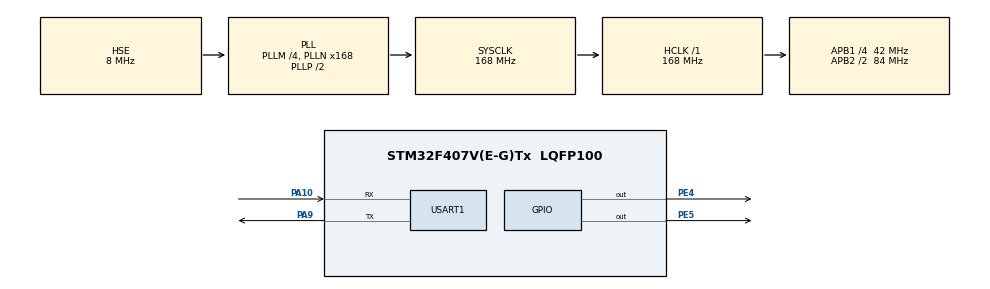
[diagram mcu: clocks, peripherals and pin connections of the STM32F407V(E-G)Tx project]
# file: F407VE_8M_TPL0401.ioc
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Mcu.Family=STM32F4
Mcu.Name=STM32F407V(E-G)Tx
Mcu.Package=LQFP100
NVIC.PriorityGroup=NVIC_PRIORITYGROUP_4
NVIC.USART1_IRQn=true\:0\:0\:false\:false\:true\:true\:true
PA10.Mode=Asynchronous
PA10.Signal=USART1_RX
PA13.Mode=Serial_Wire
PA13.Signal=SYS_JTMS-SWDIO
PA14.Mode=Serial_Wire
PA14.Signal=SYS_JTCK-SWCLK
PA9.Mode=Asynchronous
PA9.Signal=USART1_TX
PC14-OSC32_IN.Mode=LSE-External-Oscillator
PC14-OSC32_IN.Signal=RCC_OSC32_IN
PC15-OSC32_OUT.Mode=LSE-External-Oscillator
PC15-OSC32_OUT.Signal=RCC_OSC32_OUT
PE4.GPIO_ModeDefaultOutputPP=GPIO_MODE_OUTPUT_PP
PE4.GPIO_PuPd=GPIO_PULLUP
PE4.GPIO_Speed=GPIO_SPEED_FREQ_VERY_HIGH
PE4.PinState=GPIO_PIN_SET
PE4.Signal=GPIO_Output
PE5.GPIO_ModeDefaultOutputPP=GPIO_MODE_OUTPUT_PP
PE5.GPIO_PuPd=GPIO_PULLUP
PE5.GPIO_Speed=GPIO_SPEED_FREQ_VERY_HIGH
PE5.PinState=GPIO_PIN_SET
PE5.Signal=GPIO_Output
PH0-OSC_IN.Mode=HSE-External-Oscillator
PH0-OSC_IN.Signal=RCC_OSC_IN
PH1-OSC_OUT.Mode=HSE-External-Oscillator
PH1-OSC_OUT.Signal=RCC_OSC_OUT
ProjectManager.HeapSize=0x200
ProjectManager.StackSize=0x400
ProjectManager.TargetToolchain=MDK-ARM V5.27
RCC.48MHZClocksFreq_Value=84000000
RCC.AHBFreq_Value=168000000
RCC.APB1CLKDivider=RCC_HCLK_DIV4
RCC.APB1Freq_Value=42000000
RCC.APB1TimFreq_Value=84000000
RCC.APB2CLKDivider=RCC_HCLK_DIV2
RCC.APB2Freq_Value=84000000
RCC.APB2TimFreq_Value=168000000
RCC.CortexFreq_Value=168000000
RCC.HCLKFreq_Value=168000000
RCC.HSE_VALUE=8000000
RCC.HSI_VALUE=16000000
RCC.PLLM=4
RCC.PLLN=168
RCC.PLLSourceVirtual=RCC_PLLSOURCE_HSE
RCC.SYSCLKFreq_VALUE=168000000
RCC.SYSCLKSource=RCC_SYSCLKSOURCE_PLLCLK
RCC.VCOOutputFreq_Value=336000000
USART1.VirtualMode=VM_ASYNC
board=custom

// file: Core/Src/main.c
/* USER CODE BEGIN Header */
/**
  ******************************************************************************
  * @file           : main.c
  * @brief          : Main program body
  ******************************************************************************
  * @attention
  *
  * <h2><center>&copy; Copyright (c) 2021 STMicroelectronics.
  * All rights reserved.</center></h2>
  *
  * This software component is licensed by ST under BSD 3-Clause license,
  * the "License"; You may not use this file except in compliance with the
  * License. You may obtain a copy of the License at:
  *                        opensource.org/licenses/BSD-3-Clause
  *
  ******************************************************************************
  */
/* USER CODE END Header */
#include "main.h"
#include "usart.h"
#include "gpio.h"

/* USER CODE BEGIN Includes */
#include "DELAY/delay.h"
#include "I2C/softi2c.h"
#include "TPL0401/tpl0401.h"
#include "USART/myusart1.h"
#include "UTIL/util.h"
/* USER CODE END Includes */

void SystemClock_Config(void);

int main(void)
{
  /* USER CODE BEGIN 1 */
  uint8_t str[50];
  uint8_t val, i;
  uint16_t port[130], num;
  SoftI2C_Port testPort;
  /* USER CODE END 1 */

  /* MCU Configuration--------------------------------------------------------*/

  /* Reset of all peripherals, Initializes the Flash interface and the Systick. */
  HAL_Init();

  /* Configure the system clock */
  SystemClock_Config();

  /* Initialize all configured peripherals */
  MX_GPIO_Init();
  MX_USART1_UART_Init();
  /* USER CODE BEGIN 2 */
  Delay_Init(168);
  MyUSART1_Init(&huart1);
  printf("TPL0401 Test\r\n");

  // Search
  SoftI2C_SetPort(&testPort, GPIOE, 4, GPIOE, 5);
  SoftI2C_Init(&testPort, 400000, SI2C_ADDR_7b);
  num=SoftI2C_SearchAddr(&testPort, 0x0000, 0xFFFF, port);
  printf("Available address:\r\n");
  for(i = 0; i < num; i++)
  {
    printf("0x%x, ", port[i]);
  }
  printf("\r\n");

  Delay_ms(100);
  TPL0401_Init(GPIOE, 4, GPIOE, 5, 'A');
  Delay_ms(100);
  val = TPL0401_ReadVal();
  printf("Read: %d, 0x%x\r\n", val, val);

  /* USER CODE END 2 */

  /* Infinite loop */
  while (1)
  {

    /* USER CODE BEGIN 3 */
    Delay_ms(100);
    if(MyUSART1_ReadUntil(str, '>'))
    {
      if(str[0] == 'r')
      {
        val = TPL0401_ReadVal();
        printf("Read: %d, 0x%x\r\n", val, val);
      }
      else if(str[0] == 'w') // dec
      {
        val = myatoi(str + 1);
        printf("Write: %d, 0x%x, %d\r\n", val, val, TPL0401_WriteVal(val));
        val = TPL0401_ReadVal();
        printf("Read: %d, 0x%x\r\n", val, val);
      }
    }
  }
  /* USER CODE END 3 */
}

void SystemClock_Config(void)
{
  RCC_OscInitTypeDef RCC_OscInitStruct = {0};
  RCC_ClkInitTypeDef RCC_ClkInitStruct = {0};

  /** Configure the main internal regulator output voltage
  */
  __HAL_RCC_PWR_CLK_ENABLE();
  __HAL_PWR_VOLTAGESCALING_CONFIG(PWR_REGULATOR_VOLTAGE_SCALE1);
  /** Initializes the RCC Oscillators according to the specified parameters
  * in the RCC_OscInitTypeDef structure.
  */
  RCC_OscInitStruct.OscillatorType = RCC_OSCILLATORTYPE_HSE;
  RCC_OscInitStruct.HSEState = RCC_HSE_ON;
  RCC_OscInitStruct.PLL.PLLState = RCC_PLL_ON;
  RCC_OscInitStruct.PLL.PLLSource = RCC_PLLSOURCE_HSE;
  RCC_OscInitStruct.PLL.PLLM = 4;
  RCC_OscInitStruct.PLL.PLLN = 168;
  RCC_OscInitStruct.PLL.PLLP = RCC_PLLP_DIV2;
  RCC_OscInitStruct.PLL.PLLQ = 4;
  if (HAL_RCC_OscConfig(&RCC_OscInitStruct) != HAL_OK)
  {
    Error_Handler();
  }
  /** Initializes the CPU, AHB and APB buses clocks
  */
  RCC_ClkInitStruct.ClockType = RCC_CLOCKTYPE_HCLK|RCC_CLOCKTYPE_SYSCLK
                              |RCC_CLOCKTYPE_PCLK1|RCC_CLOCKTYPE_PCLK2;
  RCC_ClkInitStruct.SYSCLKSource = RCC_SYSCLKSOURCE_PLLCLK;
  RCC_ClkInitStruct.AHBCLKDivider = RCC_SYSCLK_DIV1;
  RCC_ClkInitStruct.APB1CLKDivider = RCC_HCLK_DIV4;
  RCC_ClkInitStruct.APB2CLKDivider = RCC_HCLK_DIV2;

  if (HAL_RCC_ClockConfig(&RCC_ClkInitStruct, FLASH_LATENCY_5) != HAL_OK)
  {
    Error_Handler();
  }
}

void Error_Handler(void)
{
  __disable_irq();
  while (1)
  {
  }
}

/************************ (C) COPYRIGHT STMicroelectronics *****END OF FILE****/
